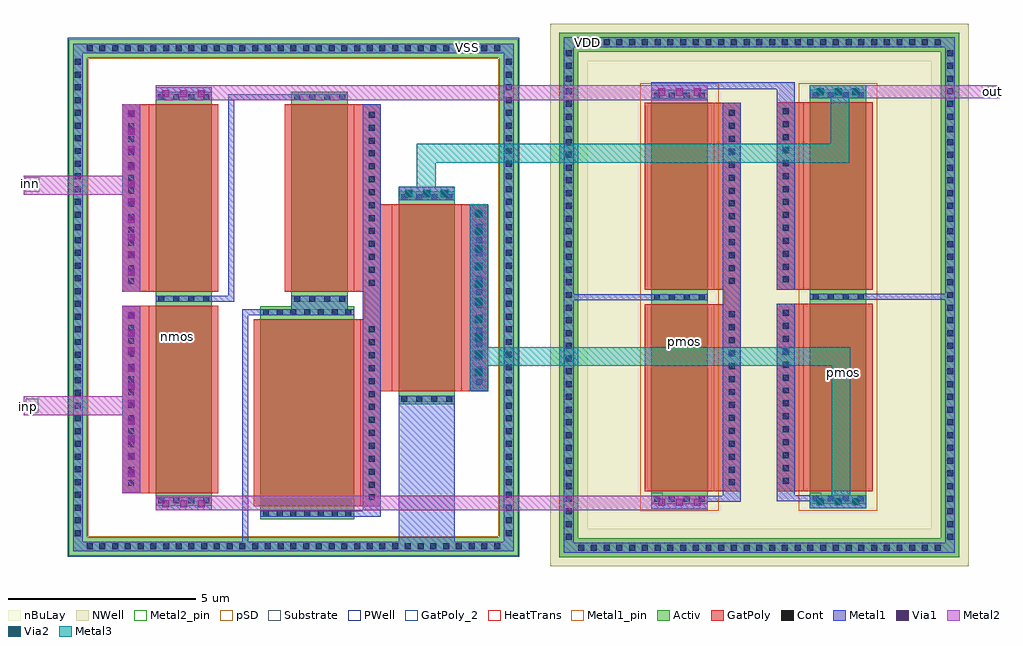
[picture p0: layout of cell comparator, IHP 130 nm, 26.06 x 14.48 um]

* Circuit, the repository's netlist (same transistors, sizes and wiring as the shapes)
** sch_path: /home/designer/shared/Delta-sigma-adc/xschem/comparator.sch
.subckt comparator VDD out inn inp VSS
*.PININFO inp:I inn:I VDD:B VSS:B out:O
M4 net2 net1 VDD VDD sg13_lv_pmos w=1.5u l=5u ng=1 m=1
M3 net1 net1 VDD VDD sg13_lv_pmos w=1.5u l=5u ng=1 m=1
M1 net1 inp net3 VSS sg13_lv_nmos w=1.5u l=5u ng=1 m=1
M2 net2 inn net3 VSS sg13_lv_nmos w=1.5u l=5u ng=1 m=1
M7 net4 net4 VDD VDD sg13_lv_pmos w=1.5u l=5u ng=1 m=1
M8 out net2 VDD VDD sg13_lv_pmos w=1.5u l=5u ng=1 m=1
M6 net4 net4 VSS VSS sg13_lv_nmos w=2.5u l=5u ng=1 m=1
M5 net3 net4 VSS VSS sg13_lv_nmos w=1.5u l=5u ng=1 m=1
M9 out net4 VSS VSS sg13_lv_nmos w=1.5u l=5u ng=1 m=1
.ends

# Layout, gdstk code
from math import pi, radians
import gdstk
lib = gdstk.Library(unit=1e-6, precision=1e-09)
def R(c, l, rs):  # rectangles x0, y0, x1, y1
    for r in rs: c.add(gdstk.rectangle(r[:2], r[2:], *l))
def A(c, l, x, y, w, h, nx, ny, dx, dy):  # array of equal rectangles
    R(c, l, [(x+i*dx, y+j*dy, x+i*dx+w, y+j*dy+h) for i in range(nx) for j in range(ny)])
Activ = (1, 0)
GatPoly = (5, 0)
GatPoly_2 = (5, 2)
Cont = (6, 0)
Metal1 = (8, 0)
Metal1_pin = (8, 2)
Metal2 = (10, 0)
Metal2_pin = (10, 2)
pSD = (14, 0)
Via1 = (19, 0)
Via2 = (29, 0)
Metal3 = (30, 0)
NWell = (31, 0)
nBuLay = (32, 0)
Substrate = (40, 0)
PWell = (46, 0)
HeatTrans = (51, 0)

pmos_1 = lib.new_cell('pmos$1')
A(pmos_1, Activ, 0, 0, 0.3, 0.3, 3, 1, 5.38, 0)
R(pmos_1, Activ, [(0,0,11.06,1.5)])
R(pmos_1, GatPoly, [(0.34,-0.18,5.34,1.68), (0.34,-0.18,5.34,1.68), (5.72,-0.18,10.72,1.68)])
A(pmos_1, Cont, 0.07, 0.07, 0.16, 0.16, 3, 4, 5.38, 0.4)
R(pmos_1, Metal1, [(0.07,0,0.23,1.5), (0.07,0,0.23,1.5), (5.45,0,5.61,1.5), (5.45,0,5.61,1.5), (10.83,0,10.99,1.5)])
R(pmos_1, pSD, [(-0.18,-0.3,11.24,1.8)])
R(pmos_1, NWell, [(-0.31,-0.31,11.37,1.81)])
R(pmos_1, Substrate, [(10.76,0,11.06,0.3)])
R(pmos_1, HeatTrans, [(0.34,-0.18,5.34,1.68), (5.72,-0.18,10.72,1.68)])
pmos_1.add(gdstk.Label('pmos', (2.84,0.75), layer=63, texttype=0))
pmos_1.add(gdstk.Label('pmos', (2.84,0.75), layer=51, texttype=0))
pmos_1.add(gdstk.Label('pmos', (8.22,0.75), layer=51, texttype=0))

nmos_1 = lib.new_cell('nmos$1')
A(nmos_1, Activ, 0, 0, 0.3, 0.3, 3, 1, 5.38, 0)
R(nmos_1, Activ, [(0,0,11.06,1.5)])
R(nmos_1, GatPoly, [(0.34,-0.18,5.34,1.68), (5.72,-0.18,10.72,1.68)])
R(nmos_1, GatPoly_2, [(0.34,-0.18,5.34,1.68)])
A(nmos_1, Cont, 0.07, 0.07, 0.16, 0.16, 3, 4, 5.38, 0.4)
A(nmos_1, Metal1, 0.07, 0, 0.16, 1.5, 3, 1, 5.38, 0)
R(nmos_1, Metal1_pin, [(0.07,0,0.23,1.5), (5.45,0,5.61,1.5)])
R(nmos_1, HeatTrans, [(0.34,-0.18,5.34,1.68), (5.72,-0.18,10.72,1.68)])
nmos_1.add(gdstk.Label('nmos', (2.84,0.75), layer=63, texttype=0))
nmos_1.add(gdstk.Label('nmos', (2.84,0.75), layer=51, texttype=0))
nmos_1.add(gdstk.Label('nmos', (8.22,0.75), layer=51, texttype=0))

nmos_2 = lib.new_cell('nmos$2')
R(nmos_2, Activ, [(0,0,0.3,0.3), (0,0,5.68,1.5), (5.38,0,5.68,0.3)])
R(nmos_2, GatPoly, [(0.34,-0.18,5.34,1.68)])
R(nmos_2, GatPoly_2, [(0.34,-0.18,5.34,1.68)])
A(nmos_2, Cont, 0.07, 0.07, 0.16, 0.16, 1, 4, 0, 0.4)
A(nmos_2, Cont, 5.45, 0.07, 0.16, 0.16, 1, 4, 0, 0.4)
R(nmos_2, Metal1, [(0.07,0,0.23,1.5), (5.45,0,5.61,1.5)])
R(nmos_2, Metal1_pin, [(0.07,0,0.23,1.5), (5.45,0,5.61,1.5)])
R(nmos_2, HeatTrans, [(0.34,-0.18,5.34,1.68)])
nmos_2.add(gdstk.Label('nmos', (2.84,0.75), layer=63, texttype=0))
nmos_2.add(gdstk.Label('nmos', (2.84,0.75), layer=51, texttype=0))

nmos_3 = lib.new_cell('nmos$3')
R(nmos_3, Activ, [(0,0,0.3,0.3), (0,0,5.68,2.5), (5.38,0,5.68,0.3)])
R(nmos_3, GatPoly, [(0.34,-0.18,5.34,2.68)])
R(nmos_3, GatPoly_2, [(0.34,-0.18,5.34,2.68)])
A(nmos_3, Cont, 0.07, 0.07, 0.16, 0.16, 1, 3, 0, 0.365)
A(nmos_3, Cont, 5.45, 0.07, 0.16, 0.16, 1, 3, 0, 0.365)
A(nmos_3, Cont, 0.07, 1.17, 0.16, 0.16, 1, 3, 0, 0.365)
A(nmos_3, Cont, 5.45, 1.17, 0.16, 0.16, 1, 3, 0, 0.365)
R(nmos_3, Cont, [(0.07,2.27,0.23,2.43), (5.45,2.27,5.61,2.43)])
R(nmos_3, Metal1, [(0.07,0,0.23,2.5), (5.45,0,5.61,2.5)])
R(nmos_3, Metal1_pin, [(0.07,0,0.23,2.5), (5.45,0,5.61,2.5)])
R(nmos_3, HeatTrans, [(0.34,-0.18,5.34,2.68)])
nmos_3.add(gdstk.Label('nmos', (2.84,1.25), layer=63, texttype=0))
nmos_3.add(gdstk.Label('nmos', (2.84,1.25), layer=51, texttype=0))

comparator = lib.new_cell('comparator')
R(comparator, Activ, [(-1.695,-2.395,-1.195,11.605), (-1.355,-2.395,8.645,-1.895), (-1.355,-2.395,8.645,-1.895), (-1.355,-2.395,8.645,-1.895), (-1.355,-2.395,8.645,-1.895), (8.485,-2.395,8.985,11.605), (-14.8,-2.36,-2.8,-1.86), (-14.8,-1.96,-14.3,11.04), (-3.3,-1.96,-2.8,11.04), (-8.85,4.29,-7.35,4.37), (-14.8,10.94,-2.8,11.44), (-1.355,11.105,8.645,11.605), (-1.355,11.105,8.645,11.605), (-1.355,11.105,8.645,11.605), (-1.355,11.105,8.645,11.605)])
R(comparator, GatPoly, [(-9.86,-1.04,-6.46,3.96), (-13.37,-0.685,-10.8,4.315), (0.58,-0.64,3.15,4.36), (4.105,-0.635,6.675,4.365), (-6.515,2.03,-4.31,7.03), (-6.17,2.03,-3.6,7.03), (-6.91,3.88,-6.46,4.31), (-6.91,4.275,-6.46,4.75), (2.7,4.325,3.15,4.8), (-13.37,4.695,-10.8,9.695), (-9.03,4.695,-6.46,9.695), (0.58,4.74,3.15,9.74), (4.105,4.745,6.675,9.745)])
R(comparator, GatPoly_2, [(-12.661,-0.685,-10.8,4.315), (-12.661,4.695,-10.8,9.695)])
A(comparator, Cont, -14.32, -2.19, 0.16, 0.16, 33, 2, 0.34, 13.3)
A(comparator, Cont, -1.525, -1.935, 0.16, 0.16, 1, 39, 0, 0.34)
A(comparator, Cont, 8.655, -1.935, 0.16, 0.16, 1, 39, 0, 0.34)
A(comparator, Cont, -14.63, -1.83, 0.16, 0.16, 1, 38, 0, 0.34)
A(comparator, Cont, -3.13, -1.83, 0.16, 0.16, 1, 38, 0, 0.34)
A(comparator, Cont, -6.78, -0.88, 0.16, 0.16, 1, 14, 0, 0.345)
A(comparator, Cont, 2.83, -0.48, 0.16, 0.16, 1, 14, 0, 0.345)
A(comparator, Cont, 4.265, -0.44, 0.16, 0.16, 1, 14, 0, 0.345)
A(comparator, Cont, -3.92, 2.19, 0.16, 0.16, 1, 14, 0, 0.345)
A(comparator, Cont, 2.83, 4.9, 0.16, 0.16, 1, 14, 0, 0.345)
A(comparator, Cont, 4.265, 4.94, 0.16, 0.16, 1, 14, 0, 0.345)
R(comparator, Cont, [(-1.195,-2.225,-1.035,-2.065), (-1.195,-2.225,-1.035,-2.065), (-1.195,-2.225,-1.035,-2.065), (-1.195,-2.225,-1.035,-2.065), (-0.855,-2.225,-0.695,-2.065), (-0.855,-2.225,-0.695,-2.065), (-0.855,-2.225,-0.695,-2.065), (-0.855,-2.225,-0.695,-2.065), (-0.515,-2.225,-0.355,-2.065), (-0.515,-2.225,-0.355,-2.065), (-0.515,-2.225,-0.355,-2.065), (-0.515,-2.225,-0.355,-2.065), (-0.175,-2.225,-0.015,-2.065), (-0.175,-2.225,-0.015,-2.065), (-0.175,-2.225,-0.015,-2.065), (-0.175,-2.225,-0.015,-2.065), (0.165,-2.225,0.325,-2.065), (0.165,-2.225,0.325,-2.065), (0.165,-2.225,0.325,-2.065), (0.165,-2.225,0.325,-2.065), (0.505,-2.225,0.665,-2.065), (0.505,-2.225,0.665,-2.065), (0.505,-2.225,0.665,-2.065), (0.505,-2.225,0.665,-2.065), (0.845,-2.225,1.005,-2.065), (0.845,-2.225,1.005,-2.065), (0.845,-2.225,1.005,-2.065), (0.845,-2.225,1.005,-2.065), (1.185,-2.225,1.345,-2.065), (1.185,-2.225,1.345,-2.065), (1.185,-2.225,1.345,-2.065), (1.185,-2.225,1.345,-2.065), (1.525,-2.225,1.685,-2.065), (1.525,-2.225,1.685,-2.065), (1.525,-2.225,1.685,-2.065), (1.525,-2.225,1.685,-2.065), (1.865,-2.225,2.025,-2.065), (1.865,-2.225,2.025,-2.065), (1.865,-2.225,2.025,-2.065), (1.865,-2.225,2.025,-2.065), (2.205,-2.225,2.365,-2.065), (2.205,-2.225,2.365,-2.065), (2.205,-2.225,2.365,-2.065), (2.205,-2.225,2.365,-2.065), (2.545,-2.225,2.705,-2.065), (2.545,-2.225,2.705,-2.065), (2.545,-2.225,2.705,-2.065), (2.545,-2.225,2.705,-2.065), (2.545,-2.225,2.705,-2.065), (2.545,-2.225,2.705,-2.065), (2.545,-2.225,2.705,-2.065), (2.545,-2.225,2.705,-2.065), (2.885,-2.225,3.045,-2.065), (2.885,-2.225,3.045,-2.065), (2.885,-2.225,3.045,-2.065), (2.885,-2.225,3.045,-2.065), (3.225,-2.225,3.385,-2.065), (3.225,-2.225,3.385,-2.065), (3.225,-2.225,3.385,-2.065), (3.225,-2.225,3.385,-2.065), (3.565,-2.225,3.725,-2.065), (3.565,-2.225,3.725,-2.065), (3.565,-2.225,3.725,-2.065), (3.565,-2.225,3.725,-2.065), (3.905,-2.225,4.065,-2.065), (3.905,-2.225,4.065,-2.065), (3.905,-2.225,4.065,-2.065), (3.905,-2.225,4.065,-2.065), (4.245,-2.225,4.405,-2.065), (4.245,-2.225,4.405,-2.065), (4.245,-2.225,4.405,-2.065), (4.245,-2.225,4.405,-2.065), (4.585,-2.225,4.745,-2.065), (4.585,-2.225,4.745,-2.065), (4.585,-2.225,4.745,-2.065), (4.585,-2.225,4.745,-2.065), (4.925,-2.225,5.085,-2.065), (4.925,-2.225,5.085,-2.065), (4.925,-2.225,5.085,-2.065), (4.925,-2.225,5.085,-2.065), (5.265,-2.225,5.425,-2.065), (5.265,-2.225,5.425,-2.065), (5.265,-2.225,5.425,-2.065), (5.265,-2.225,5.425,-2.065), (5.605,-2.225,5.765,-2.065), (5.605,-2.225,5.765,-2.065), (5.605,-2.225,5.765,-2.065), (5.605,-2.225,5.765,-2.065), (5.945,-2.225,6.105,-2.065), (5.945,-2.225,6.105,-2.065), (5.945,-2.225,6.105,-2.065), (5.945,-2.225,6.105,-2.065), (6.285,-2.225,6.445,-2.065), (6.285,-2.225,6.445,-2.065), (6.285,-2.225,6.445,-2.065), (6.285,-2.225,6.445,-2.065), (6.625,-2.225,6.785,-2.065), (6.625,-2.225,6.785,-2.065), (6.625,-2.225,6.785,-2.065), (6.625,-2.225,6.785,-2.065), (6.965,-2.225,7.125,-2.065), (6.965,-2.225,7.125,-2.065), (6.965,-2.225,7.125,-2.065), (6.965,-2.225,7.125,-2.065), (7.305,-2.225,7.465,-2.065), (7.305,-2.225,7.465,-2.065), (7.305,-2.225,7.465,-2.065), (7.305,-2.225,7.465,-2.065), (7.645,-2.225,7.805,-2.065), (7.645,-2.225,7.805,-2.065), (7.645,-2.225,7.805,-2.065), (7.645,-2.225,7.805,-2.065), (7.985,-2.225,8.145,-2.065), (7.985,-2.225,8.145,-2.065), (7.985,-2.225,8.145,-2.065), (7.985,-2.225,8.145,-2.065), (8.325,-2.225,8.485,-2.065), (8.325,-2.225,8.485,-2.065), (8.325,-2.225,8.485,-2.065), (8.325,-2.225,8.485,-2.065), (-13.21,-0.49,-13.05,-0.33), (-13.21,-0.49,-13.05,-0.33), (-13.21,-0.49,-13.05,-0.33), (-13.21,-0.49,-13.05,-0.33), (-13.21,-0.145,-13.05,0.015), (-13.21,-0.145,-13.05,0.015), (-13.21,-0.145,-13.05,0.015), (-13.21,-0.145,-13.05,0.015), (-13.21,0.2,-13.05,0.36), (-13.21,0.2,-13.05,0.36), (-13.21,0.2,-13.05,0.36), (-13.21,0.2,-13.05,0.36), (-13.21,0.545,-13.05,0.705), (-13.21,0.545,-13.05,0.705), (-13.21,0.545,-13.05,0.705), (-13.21,0.545,-13.05,0.705), (-13.21,0.89,-13.05,1.05), (-13.21,0.89,-13.05,1.05), (-13.21,0.89,-13.05,1.05), (-13.21,0.89,-13.05,1.05), (-13.21,1.235,-13.05,1.395), (-13.21,1.235,-13.05,1.395), (-13.21,1.235,-13.05,1.395), (-13.21,1.235,-13.05,1.395), (-13.21,1.58,-13.05,1.74), (-13.21,1.58,-13.05,1.74), (-13.21,1.58,-13.05,1.74), (-13.21,1.58,-13.05,1.74), (-13.21,1.925,-13.05,2.085), (-13.21,1.925,-13.05,2.085), (-13.21,1.925,-13.05,2.085), (-13.21,1.925,-13.05,2.085), (-13.21,2.27,-13.05,2.43), (-13.21,2.27,-13.05,2.43), (-13.21,2.27,-13.05,2.43), (-13.21,2.27,-13.05,2.43), (-13.21,2.615,-13.05,2.775), (-13.21,2.615,-13.05,2.775), (-13.21,2.615,-13.05,2.775), (-13.21,2.615,-13.05,2.775), (-13.21,2.96,-13.05,3.12), (-13.21,2.96,-13.05,3.12), (-13.21,2.96,-13.05,3.12), (-13.21,2.96,-13.05,3.12), (-13.21,3.305,-13.05,3.465), (-13.21,3.305,-13.05,3.465), (-13.21,3.305,-13.05,3.465), (-13.21,3.305,-13.05,3.465), (-13.21,3.65,-13.05,3.81), (-13.21,3.65,-13.05,3.81), (-13.21,3.65,-13.05,3.81), (-13.21,3.65,-13.05,3.81), (-13.21,3.995,-13.05,4.155), (-13.21,3.995,-13.05,4.155), (-13.21,3.995,-13.05,4.155), (-13.21,3.995,-13.05,4.155), (-6.78,4.855,-6.62,5.015), (-6.78,4.855,-6.62,5.015), (-6.78,4.855,-6.62,5.015), (-6.78,4.855,-6.62,5.015), (-13.21,4.89,-13.05,5.05), (-13.21,4.89,-13.05,5.05), (-13.21,4.89,-13.05,5.05), (-13.21,4.89,-13.05,5.05), (-6.78,5.2,-6.62,5.36), (-6.78,5.2,-6.62,5.36), (-6.78,5.2,-6.62,5.36), (-6.78,5.2,-6.62,5.36), (-13.21,5.235,-13.05,5.395), (-13.21,5.235,-13.05,5.395), (-13.21,5.235,-13.05,5.395), (-13.21,5.235,-13.05,5.395), (-6.78,5.545,-6.62,5.705), (-6.78,5.545,-6.62,5.705), (-6.78,5.545,-6.62,5.705), (-6.78,5.545,-6.62,5.705), (-13.21,5.58,-13.05,5.74), (-13.21,5.58,-13.05,5.74), (-13.21,5.58,-13.05,5.74), (-13.21,5.58,-13.05,5.74), (-6.78,5.89,-6.62,6.05), (-6.78,5.89,-6.62,6.05), (-6.78,5.89,-6.62,6.05), (-6.78,5.89,-6.62,6.05), (-13.21,5.925,-13.05,6.085), (-13.21,5.925,-13.05,6.085), (-13.21,5.925,-13.05,6.085), (-13.21,5.925,-13.05,6.085), (-6.78,6.235,-6.62,6.395), (-6.78,6.235,-6.62,6.395), (-6.78,6.235,-6.62,6.395), (-6.78,6.235,-6.62,6.395), (-13.21,6.27,-13.05,6.43), (-13.21,6.27,-13.05,6.43), (-13.21,6.27,-13.05,6.43), (-13.21,6.27,-13.05,6.43), (-6.78,6.58,-6.62,6.74), (-6.78,6.58,-6.62,6.74), (-6.78,6.58,-6.62,6.74), (-6.78,6.58,-6.62,6.74), (-13.21,6.615,-13.05,6.775), (-13.21,6.615,-13.05,6.775), (-13.21,6.615,-13.05,6.775), (-13.21,6.615,-13.05,6.775), (-6.78,6.925,-6.62,7.085), (-6.78,6.925,-6.62,7.085), (-6.78,6.925,-6.62,7.085), (-6.78,6.925,-6.62,7.085), (-13.21,6.96,-13.05,7.12), (-13.21,6.96,-13.05,7.12), (-13.21,6.96,-13.05,7.12), (-13.21,6.96,-13.05,7.12), (-6.78,7.27,-6.62,7.43), (-6.78,7.27,-6.62,7.43), (-6.78,7.27,-6.62,7.43), (-6.78,7.27,-6.62,7.43), (-13.21,7.305,-13.05,7.465), (-13.21,7.305,-13.05,7.465), (-13.21,7.305,-13.05,7.465), (-13.21,7.305,-13.05,7.465), (-6.78,7.615,-6.62,7.775), (-6.78,7.615,-6.62,7.775), (-6.78,7.615,-6.62,7.775), (-6.78,7.615,-6.62,7.775), (-13.21,7.65,-13.05,7.81), (-13.21,7.65,-13.05,7.81), (-13.21,7.65,-13.05,7.81), (-13.21,7.65,-13.05,7.81), (-6.78,7.96,-6.62,8.12), (-6.78,7.96,-6.62,8.12), (-6.78,7.96,-6.62,8.12), (-6.78,7.96,-6.62,8.12), (-13.21,7.995,-13.05,8.155), (-13.21,7.995,-13.05,8.155), (-13.21,7.995,-13.05,8.155), (-13.21,7.995,-13.05,8.155), (-6.78,8.305,-6.62,8.465), (-6.78,8.305,-6.62,8.465), (-6.78,8.305,-6.62,8.465), (-6.78,8.305,-6.62,8.465), (-13.21,8.34,-13.05,8.5), (-13.21,8.34,-13.05,8.5), (-13.21,8.34,-13.05,8.5), (-13.21,8.34,-13.05,8.5), (-6.78,8.65,-6.62,8.81), (-6.78,8.65,-6.62,8.81), (-6.78,8.65,-6.62,8.81), (-6.78,8.65,-6.62,8.81), (-13.21,8.685,-13.05,8.845), (-13.21,8.685,-13.05,8.845), (-13.21,8.685,-13.05,8.845), (-13.21,8.685,-13.05,8.845), (-6.78,8.995,-6.62,9.155), (-6.78,8.995,-6.62,9.155), (-6.78,8.995,-6.62,9.155), (-6.78,8.995,-6.62,9.155), (-13.21,9.03,-13.05,9.19), (-13.21,9.03,-13.05,9.19), (-13.21,9.03,-13.05,9.19), (-13.21,9.03,-13.05,9.19), (-6.78,9.34,-6.62,9.5), (-6.78,9.34,-6.62,9.5), (-6.78,9.34,-6.62,9.5), (-6.78,9.34,-6.62,9.5), (-13.21,9.375,-13.05,9.535), (-13.21,9.375,-13.05,9.535), (-13.21,9.375,-13.05,9.535), (-13.21,9.375,-13.05,9.535), (-1.525,10.985,-1.365,11.145), (-1.525,10.985,-1.365,11.145), (-1.525,10.985,-1.365,11.145), (8.655,10.985,8.815,11.145), (8.655,10.985,8.815,11.145), (8.655,10.985,8.815,11.145), (-1.195,11.275,-1.035,11.435), (-1.195,11.275,-1.035,11.435), (-1.195,11.275,-1.035,11.435), (-1.195,11.275,-1.035,11.435), (-0.855,11.275,-0.695,11.435), (-0.855,11.275,-0.695,11.435), (-0.855,11.275,-0.695,11.435), (-0.855,11.275,-0.695,11.435), (-0.515,11.275,-0.355,11.435), (-0.515,11.275,-0.355,11.435), (-0.515,11.275,-0.355,11.435), (-0.515,11.275,-0.355,11.435), (-0.175,11.275,-0.015,11.435), (-0.175,11.275,-0.015,11.435), (-0.175,11.275,-0.015,11.435), (-0.175,11.275,-0.015,11.435), (0.165,11.275,0.325,11.435), (0.165,11.275,0.325,11.435), (0.165,11.275,0.325,11.435), (0.165,11.275,0.325,11.435), (0.505,11.275,0.665,11.435), (0.505,11.275,0.665,11.435), (0.505,11.275,0.665,11.435), (0.505,11.275,0.665,11.435), (0.845,11.275,1.005,11.435), (0.845,11.275,1.005,11.435), (0.845,11.275,1.005,11.435), (0.845,11.275,1.005,11.435), (1.185,11.275,1.345,11.435), (1.185,11.275,1.345,11.435), (1.185,11.275,1.345,11.435), (1.185,11.275,1.345,11.435), (1.525,11.275,1.685,11.435), (1.525,11.275,1.685,11.435), (1.525,11.275,1.685,11.435), (1.525,11.275,1.685,11.435), (1.865,11.275,2.025,11.435), (1.865,11.275,2.025,11.435), (1.865,11.275,2.025,11.435), (1.865,11.275,2.025,11.435), (2.205,11.275,2.365,11.435), (2.205,11.275,2.365,11.435), (2.205,11.275,2.365,11.435), (2.205,11.275,2.365,11.435), (2.545,11.275,2.705,11.435), (2.545,11.275,2.705,11.435), (2.545,11.275,2.705,11.435), (2.545,11.275,2.705,11.435), (2.545,11.275,2.705,11.435), (2.545,11.275,2.705,11.435), (2.545,11.275,2.705,11.435), (2.545,11.275,2.705,11.435), (2.885,11.275,3.045,11.435), (2.885,11.275,3.045,11.435), (2.885,11.275,3.045,11.435), (2.885,11.275,3.045,11.435), (3.225,11.275,3.385,11.435), (3.225,11.275,3.385,11.435), (3.225,11.275,3.385,11.435), (3.225,11.275,3.385,11.435), (3.565,11.275,3.725,11.435), (3.565,11.275,3.725,11.435), (3.565,11.275,3.725,11.435), (3.565,11.275,3.725,11.435), (3.905,11.275,4.065,11.435), (3.905,11.275,4.065,11.435), (3.905,11.275,4.065,11.435), (3.905,11.275,4.065,11.435), (4.245,11.275,4.405,11.435), (4.245,11.275,4.405,11.435), (4.245,11.275,4.405,11.435), (4.245,11.275,4.405,11.435), (4.585,11.275,4.745,11.435), (4.585,11.275,4.745,11.435), (4.585,11.275,4.745,11.435), (4.585,11.275,4.745,11.435), (4.925,11.275,5.085,11.435), (4.925,11.275,5.085,11.435), (4.925,11.275,5.085,11.435), (4.925,11.275,5.085,11.435), (5.265,11.275,5.425,11.435), (5.265,11.275,5.425,11.435), (5.265,11.275,5.425,11.435), (5.265,11.275,5.425,11.435), (5.605,11.275,5.765,11.435), (5.605,11.275,5.765,11.435), (5.605,11.275,5.765,11.435), (5.605,11.275,5.765,11.435), (5.945,11.275,6.105,11.435), (5.945,11.275,6.105,11.435), (5.945,11.275,6.105,11.435), (5.945,11.275,6.105,11.435), (6.285,11.275,6.445,11.435), (6.285,11.275,6.445,11.435), (6.285,11.275,6.445,11.435), (6.285,11.275,6.445,11.435), (6.625,11.275,6.785,11.435), (6.625,11.275,6.785,11.435), (6.625,11.275,6.785,11.435), (6.625,11.275,6.785,11.435), (6.965,11.275,7.125,11.435), (6.965,11.275,7.125,11.435), (6.965,11.275,7.125,11.435), (6.965,11.275,7.125,11.435), (7.305,11.275,7.465,11.435), (7.305,11.275,7.465,11.435), (7.305,11.275,7.465,11.435), (7.305,11.275,7.465,11.435), (7.645,11.275,7.805,11.435), (7.645,11.275,7.805,11.435), (7.645,11.275,7.805,11.435), (7.645,11.275,7.805,11.435), (7.985,11.275,8.145,11.435), (7.985,11.275,8.145,11.435), (7.985,11.275,8.145,11.435), (7.985,11.275,8.145,11.435), (8.325,11.275,8.485,11.435), (8.325,11.275,8.485,11.435), (8.325,11.275,8.485,11.435), (8.325,11.275,8.485,11.435)])
R(comparator, Metal1, [(-1.575,-2.275,-1.315,11.485), (-1.575,-2.275,-1.155,-2.015), (-1.195,-2.275,8.485,-2.015), (-1.195,-2.275,8.485,-2.015), (-1.195,-2.275,8.485,-2.015), (-1.195,-2.275,8.485,-2.015), (8.465,-2.275,8.865,-2.015), (8.605,-2.275,8.865,11.485), (-14.68,-2.24,-14.42,-1.805), (-14.66,-2.24,-2.94,-1.98), (-10.17,-2.24,-10.01,4.23), (-5.99,-2.24,-4.49,1.92), (-3.18,-2.24,-2.92,-1.805), (-14.68,-1.83,-14.42,10.91), (-3.18,-1.83,-2.92,10.91), (-7.25,-1.31,-6.46,-1.15), (-6.945,-1.31,-6.46,-0.93), (-12.48,-1.145,-10.98,-0.795), (0.76,-1.1,2.26,-0.75), (4.995,-1.095,6.495,-0.745), (-6.945,-1.04,-6.46,3.96), (2.19,-0.91,3.15,-0.75), (2.665,-0.91,3.15,-0.6), (4.105,-0.905,5.065,-0.745), (4.105,-0.905,4.59,-0.595), (-13.37,-0.685,-12.885,4.315), (2.665,-0.64,3.15,4.36), (4.105,-0.635,4.59,4.365), (-4.085,2.03,-3.6,7.03), (-4.085,2.03,-3.6,7.03), (-6.945,3.88,-6.46,4.31), (-10.17,4.07,-9.61,4.23), (-8.85,4.07,-7.35,4.585), (-6.945,4.275,-6.46,4.75), (2.665,4.325,3.15,4.8), (-11.05,4.425,-10.38,4.585), (-10.54,4.425,-10.38,9.965), (-1.575,4.47,0.83,4.63), (6.425,4.475,8.865,4.635), (-13.37,4.695,-12.885,9.695), (-6.945,4.695,-6.46,9.695), (2.665,4.74,3.15,9.74), (4.105,4.745,4.59,9.745), (-5.99,7.14,-4.49,7.49), (4.105,9.59,4.59,10.285), (-12.48,9.805,-10.98,10.155), (-10.54,9.805,-8.78,9.965), (0.76,9.85,2.26,10.2), (0.76,9.85,2.26,10.285), (4.995,9.855,6.495,10.205), (2,10.095,4.59,10.285), (-14.68,10.885,-14.42,11.32), (-3.18,10.885,-2.92,11.32), (-14.66,11.06,-2.94,11.32), (-1.465,11.225,-1.17,11.485), (-1.195,11.225,8.485,11.485), (-1.195,11.225,8.485,11.485), (-1.195,11.225,8.485,11.485), (-1.195,11.225,8.485,11.485), (8.325,11.225,8.645,11.485)])
R(comparator, Metal1_pin, [(-4.23,11.11,-4.06,11.295), (-1.04,11.255,-0.835,11.44)])
R(comparator, Metal2, [(-12.48,-1.145,-10.98,-0.795), (-12.48,-1.145,2.26,-0.75), (0.76,-1.1,2.26,-0.75), (4.995,-1.095,6.495,-0.745), (-13.37,-0.685,-12.885,4.315), (-16.005,1.395,-12.885,1.895), (-4.085,2.03,-3.6,7.03), (-13.37,4.695,-12.885,9.695), (-5.99,7.14,-4.49,7.49), (-16.005,7.285,-12.885,7.785), (-12.48,9.805,-10.98,10.155), (-12.48,9.805,2.26,10.2), (0.76,9.85,2.26,10.2), (4.995,9.855,6.495,10.205), (4.995,9.855,10.055,10.205)])
R(comparator, Metal2_pin, [(-15.94,1.465,-15.61,1.84), (-15.955,7.365,-15.58,7.755), (9.755,9.92,10.015,10.165)])
R(comparator, pSD, [(-14.83,-2.39,-2.77,-1.83), (-14.83,-1.99,-14.27,11.07), (-3.33,-1.99,-2.77,11.07), (-14.83,10.91,-2.77,11.47)])
A(comparator, Via1, -12.3, -1.065, 0.19, 0.19, 3, 2, 0.475, 10.95)
A(comparator, Via1, 0.94, -1.02, 0.19, 0.19, 3, 2, 0.475, 10.95)
A(comparator, Via1, 5.175, -1.015, 0.19, 0.19, 3, 2, 0.475, 10.95)
A(comparator, Via1, -13.225, -0.265, 0.19, 0.19, 1, 10, 0, 0.47)
A(comparator, Via1, -3.94, 2.45, 0.19, 0.19, 1, 10, 0, 0.47)
A(comparator, Via1, -13.225, 5.115, 0.19, 0.19, 1, 10, 0, 0.47)
A(comparator, Via1, -5.81, 7.22, 0.19, 0.19, 3, 1, 0.475, 0)
A(comparator, Via2, 5.175, -1.015, 0.19, 0.19, 3, 2, 0.475, 10.95)
A(comparator, Via2, -3.94, 2.45, 0.19, 0.19, 1, 10, 0, 0.47)
A(comparator, Via2, -5.81, 7.22, 0.19, 0.19, 3, 1, 0.475, 0)
R(comparator, Metal3, [(4.995,-1.095,6.495,-0.745), (5.575,-1.095,6.075,3.21), (-4.085,2.03,-3.6,7.03), (-4.085,2.71,6.075,3.21), (-5.99,7.14,-4.49,7.49), (-5.5,7.14,-5,8.64), (-5.5,8.14,6.045,8.64), (5.545,8.14,6.045,10.205), (4.995,9.855,6.495,10.205)])
R(comparator, NWell, [(-1.945,-2.635,9.235,11.845)])
R(comparator, nBuLay, [(-1.945,-2.635,-0.945,11.845), (-1.595,-2.635,8.885,-1.635), (8.235,-2.635,9.235,11.845), (-1.595,10.845,8.885,11.845)])
R(comparator, PWell, [(-14.83,-2.39,-2.77,11.47)])
R(comparator, HeatTrans, [(-12.661,-0.685,-10.801,4.315), (0.58,-0.64,2.44,4.36), (4.815,-0.635,6.675,4.365)])
comparator.add(gdstk.Reference(pmos_1, (0.76,10.08), rotation=3*pi/2))
comparator.add(gdstk.Reference(pmos_1, (4.995,10.085), rotation=3*pi/2))
comparator.add(gdstk.Reference(nmos_1, (-12.48,10.035), rotation=3*pi/2))
comparator.add(gdstk.Reference(nmos_2, (-5.99,7.37), rotation=3*pi/2))
comparator.add(gdstk.Reference(nmos_2, (-8.85,10.035), rotation=3*pi/2))
comparator.add(gdstk.Reference(nmos_3, (-9.68,4.3), rotation=3*pi/2))
comparator.add(gdstk.Label('nmos', (-11.895,3.5), layer=63, texttype=0))
comparator.add(gdstk.Label('pmos', (5.89,2.53), layer=63, texttype=0))
comparator.add(gdstk.Label('pmos', (1.64,3.37), layer=63, texttype=0))
comparator.add(gdstk.Label('out', (9.875,10.035), layer=10, texttype=25))
comparator.add(gdstk.Label('inn', (-15.83,7.58), layer=10, texttype=25))
comparator.add(gdstk.Label('inp', (-15.86,1.615), layer=10, texttype=25))
comparator.add(gdstk.Label('VSS', (-4.16,11.22), layer=8, texttype=25))
comparator.add(gdstk.Label('VDD', (-0.94,11.355), layer=8, texttype=25))

lib.write_gds('comparator.gds')
